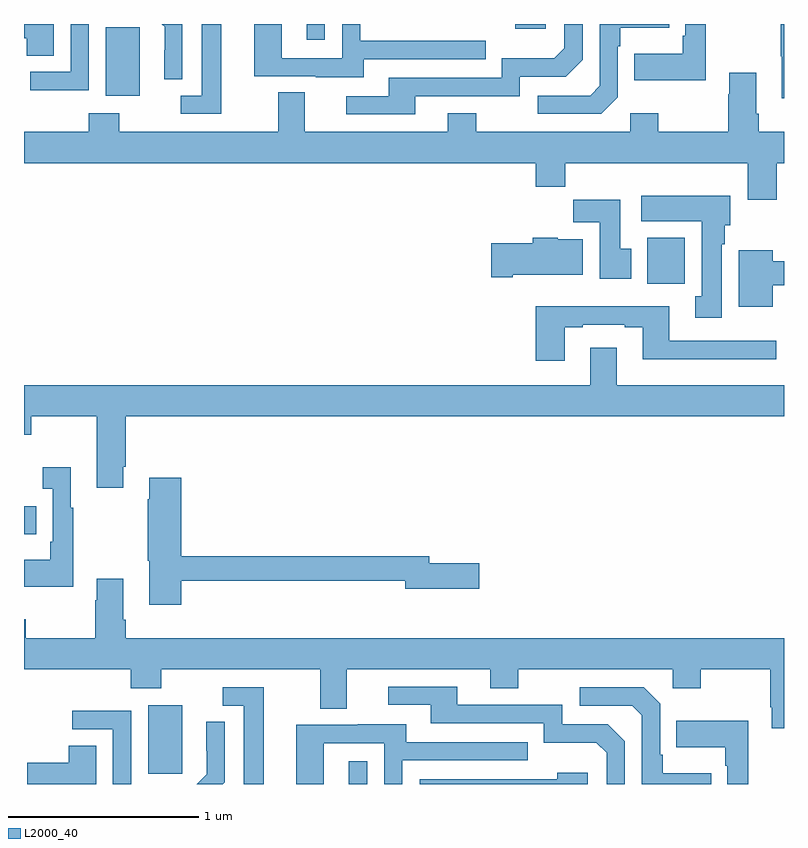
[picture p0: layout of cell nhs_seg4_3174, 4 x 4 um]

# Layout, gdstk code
import gdstk
lib = gdstk.Library(unit=1e-6, precision=1e-09)
def R(c, l, rs):  # rectangles x0, y0, x1, y1
    for r in rs: c.add(gdstk.rectangle(r[:2], r[2:], *l))
def P(c, l, *ps):  # polygons
    for p in ps: c.add(gdstk.Polygon(p, *l))
L2000_40 = (2000, 40)

nhs_seg4_3174 = lib.new_cell('nhs_seg4_3174')
R(nhs_seg4_3174, L2000_40, [(280.709,778.9,280.806,779.02), (279.653,778.953,279.832,779.314), (279,780.215,279.065,780.363), (282.281,781.532,282.478,781.774), (279.431,782.522,279.61,782.883), (280.487,782.817,280.584,782.9), (281.585,782.876,281.746,782.9)])
P(nhs_seg4_3174, L2000_40, [(283,782.9),(282.982,782.9),(282.982,782.731),(282.989,782.731),(282.989,782.508),(283,782.508)],
  [(280.039,782.9),(279.935,782.9),(279.935,782.523),(279.825,782.523),(279.825,782.427),(280.039,782.427)],
  [(279.342,782.9),(279.246,782.9),(279.246,782.649),(279.033,782.649),(279.033,782.551),(279.342,782.551)],
  [(279.157,782.9),(279,782.9),(279,782.825),(279.014,782.825),(279.014,782.734),(279.157,782.734)],
  [(282.126,782.514),(282.126,782.783),(282.139,782.783),(282.139,782.879),(282.395,782.879),(282.395,782.9),(282.03,782.9),(282.03,782.574),(281.979,782.523),(281.703,782.523),(281.703,782.427),(282.039,782.427)],
  [(281.059,782.52),(281.61,782.52),(281.61,782.622),(281.85,782.622),(281.94,782.712),(281.94,782.9),(281.844,782.9),(281.844,782.772),(281.791,782.719),(281.514,782.719),(281.514,782.616),(280.919,782.616),(280.919,782.52),(280.695,782.52),(280.695,782.424),(281.059,782.424)],
  [(280.789,782.715),(281.429,782.715),(281.429,782.811),(280.77,782.811),(280.77,782.9),(280.674,782.9),(280.674,782.721),(280.356,782.721),(280.356,782.9),(280.211,782.9),(280.211,782.625),(280.535,782.625),(280.535,782.621),(280.789,782.621)],
  [(282.589,782.9),(282.48,782.9),(282.48,782.839),(282.468,782.839),(282.468,782.743),(282.211,782.743),(282.211,782.603),(282.589,782.603)],
  [(279.834,782.9),(279.725,782.9),(279.74,782.885),(279.74,782.762),(279.738,782.762),(279.738,782.608),(279.834,782.608)],
  [(282.962,782.168),(283,782.168),(283,782.332),(282.866,782.332),(282.866,782.428),(282.853,782.428),(282.853,782.644),(282.713,782.644),(282.713,782.531),(282.706,782.531),(282.706,782.332),(282.339,782.332),(282.339,782.431),(282.192,782.431),(282.192,782.332),(281.379,782.332),(281.379,782.431),(281.231,782.431),(281.231,782.332),(280.477,782.332),(280.477,782.54),(280.337,782.54),(280.337,782.332),(279.501,782.332),(279.501,782.431),(279.341,782.431),(279.341,782.332),(279,782.332),(279,782.168),(281.693,782.168),(281.693,782.044),(281.849,782.044),(281.849,782.168),(282.809,782.168),(282.809,781.974),(282.962,781.974)],
  [(282.673,781.742),(282.688,781.742),(282.688,781.842),(282.718,781.842),(282.718,781.996),(282.249,781.996),(282.249,781.862),(282.566,781.862),(282.566,781.466),(282.533,781.466),(282.533,781.353),(282.673,781.353)],
  [(282.196,781.716),(282.139,781.716),(282.139,781.975),(281.89,781.975),(281.89,781.856),(282.029,781.856),(282.029,781.56),(282.196,781.56)],
  [(281.572,781.58),(281.941,781.58),(281.941,781.768),(281.808,781.768),(281.808,781.774),(281.678,781.774),(281.678,781.746),(281.46,781.746),(281.46,781.568),(281.572,781.568)],
  [(282.94,781.524),(283,781.524),(283,781.652),(282.94,781.652),(282.94,781.708),(282.761,781.708),(282.761,781.412),(282.94,781.412)],
  [(281.845,781.305),(281.941,781.305),(281.941,781.317),(282.161,781.317),(282.161,781.305),(282.257,781.305),(282.257,781.136),(282.958,781.136),(282.958,781.233),(282.397,781.233),(282.397,781.414),(281.693,781.414),(281.693,781.128),(281.845,781.128)],
  [(279.523,780.571),(279.536,780.571),(279.536,780.836),(283,780.836),(283,781),(282.121,781),(282.121,781.195),(281.981,781.195),(281.981,781),(279,781),(279,780.737),(279.039,780.737),(279.039,780.836),(279.383,780.836),(279.383,780.459),(279.523,780.459)],
  [(279.259,780.355),(279.247,780.355),(279.247,780.568),(279.099,780.568),(279.099,780.455),(279.15,780.455),(279.15,780.175),(279.138,780.175),(279.138,780.079),(279,780.079),(279,779.939),(279.259,779.939)],
  [(279.827,779.97),(281.006,779.97),(281.006,779.927),(281.395,779.927),(281.395,780.062),(281.134,780.062),(281.134,780.098),(279.827,780.098),(279.827,780.511),(279.659,780.511),(279.659,780.398),(279.652,780.398),(279.652,780.075),(279.659,780.075),(279.659,779.844),(279.827,779.844)],
  [(283,779.668),(279.536,779.668),(279.536,779.764),(279.523,779.764),(279.523,779.98),(279.383,779.98),(279.383,779.867),(279.376,779.867),(279.376,779.668),(279.009,779.668),(279.009,779.767),(279,779.767),(279,779.504),(279.563,779.504),(279.563,779.405),(279.723,779.405),(279.723,779.504),(280.559,779.504),(280.559,779.296),(280.699,779.296),(280.699,779.504),(281.453,779.504),(281.453,779.405),(281.601,779.405),(281.601,779.504),(282.414,779.504),(282.414,779.405),(282.561,779.405),(282.561,779.504),(282.928,779.504),(282.928,779.305),(282.935,779.305),(282.935,779.193),(283,779.193)],
  [(282.162,779.124),(282.072,779.214),(281.832,779.214),(281.832,779.316),(281.281,779.316),(281.281,779.412),(280.917,779.412),(280.917,779.316),(281.141,779.316),(281.141,779.22),(281.736,779.22),(281.736,779.117),(282.013,779.117),(282.066,779.064),(282.066,778.9),(282.162,778.9)],
  [(280.261,779.409),(280.047,779.409),(280.047,779.313),(280.157,779.313),(280.157,778.9),(280.261,778.9)],
  [(282.617,778.957),(282.361,778.957),(282.361,779.053),(282.348,779.053),(282.348,779.322),(282.261,779.409),(281.925,779.409),(281.925,779.313),(282.201,779.313),(282.252,779.262),(282.252,778.9),(282.617,778.9)],
  [(279.564,779.286),(279.255,779.286),(279.255,779.187),(279.468,779.187),(279.468,778.9),(279.564,778.9)],
  [(282.811,779.233),(282.433,779.233),(282.433,779.093),(282.69,779.093),(282.69,778.997),(282.702,778.997),(282.702,778.9),(282.811,778.9)],
  [(280.056,778.91),(280.056,779.228),(279.96,779.228),(279.96,779.074),(279.962,779.074),(279.962,778.952),(279.91,778.9),(280.046,778.9)],
  [(280.578,779.115),(280.896,779.115),(280.896,778.9),(280.992,778.9),(280.992,779.025),(281.651,779.025),(281.651,779.121),(281.011,779.121),(281.011,779.215),(280.757,779.215),(280.757,779.211),(280.433,779.211),(280.433,778.9),(280.578,778.9)],
  [(279.379,779.102),(279.236,779.102),(279.236,779.012),(279.018,779.012),(279.018,778.9),(279.379,778.9)],
  [(281.968,778.96),(281.807,778.96),(281.807,778.926),(281.082,778.926),(281.082,778.9),(281.968,778.9)])

lib.write_gds('nhs_seg4_3174.gds')
